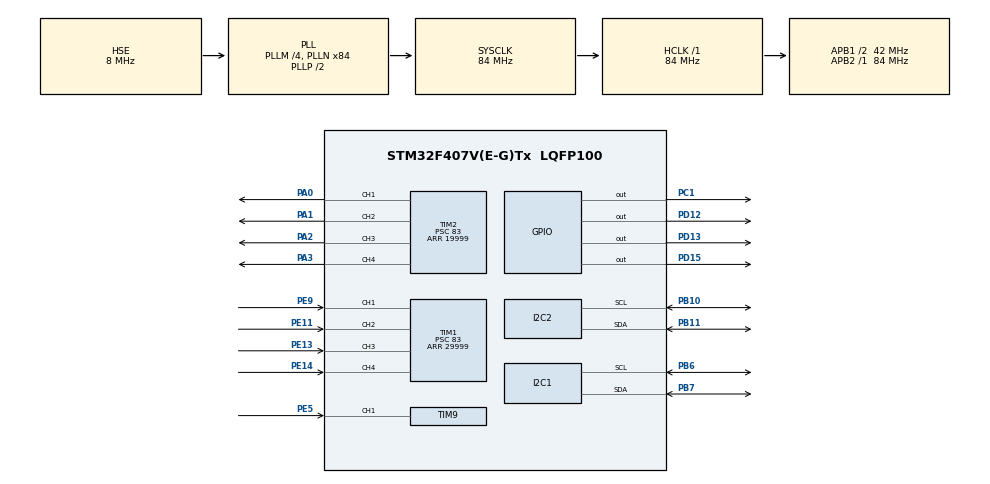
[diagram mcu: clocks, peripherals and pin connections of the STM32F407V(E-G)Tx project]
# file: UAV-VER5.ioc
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I2C1.I2C_Mode=I2C_Fast
I2C2.I2C_Mode=I2C_Fast
Mcu.Family=STM32F4
Mcu.Name=STM32F407V(E-G)Tx
Mcu.Package=LQFP100
NVIC.PriorityGroup=NVIC_PRIORITYGROUP_4
NVIC.TIM1_BRK_TIM9_IRQn=true\:0\:0\:false\:false\:true\:true\:true
NVIC.TIM1_CC_IRQn=true\:0\:0\:false\:false\:true\:true\:true
NVIC.TIM3_IRQn=true\:1\:0\:true\:false\:true\:true\:true
PA0-WKUP.Signal=S_TIM2_CH1_ETR
PA1.Signal=S_TIM2_CH2
PA2.Signal=S_TIM2_CH3
PA3.Signal=S_TIM2_CH4
PB10.Mode=I2C
PB10.Signal=I2C2_SCL
PB11.Mode=I2C
PB11.Signal=I2C2_SDA
PB6.Mode=I2C
PB6.Signal=I2C1_SCL
PB7.Mode=I2C
PB7.Signal=I2C1_SDA
PC1.Signal=GPIO_Output
PD12.Signal=GPIO_Output
PD13.Signal=GPIO_Output
PD15.Signal=GPIO_Output
PE11.Signal=S_TIM1_CH2
PE13.Signal=S_TIM1_CH3
PE14.Signal=S_TIM1_CH4
PE5.Signal=S_TIM9_CH1
PE9.Signal=S_TIM1_CH1
PH0-OSC_IN.Mode=HSE-External-Oscillator
PH0-OSC_IN.Signal=RCC_OSC_IN
PH1-OSC_OUT.Mode=HSE-External-Oscillator
PH1-OSC_OUT.Signal=RCC_OSC_OUT
ProjectManager.HeapSize=0x200
ProjectManager.StackSize=0x400
ProjectManager.TargetToolchain=MDK-ARM V5
RCC.48MHZClocksFreq_Value=42000000
RCC.AHBFreq_Value=84000000
RCC.APB1CLKDivider=RCC_HCLK_DIV2
RCC.APB1Freq_Value=42000000
RCC.APB1TimFreq_Value=84000000
RCC.APB2Freq_Value=84000000
RCC.APB2TimFreq_Value=84000000
RCC.CortexFreq_Value=84000000
RCC.HCLKFreq_Value=84000000
RCC.HSE_VALUE=8000000
RCC.HSI_VALUE=16000000
RCC.LSE_VALUE=32768
RCC.PLLM=4
RCC.PLLN=84
RCC.PLLSourceVirtual=RCC_PLLSOURCE_HSE
RCC.SYSCLKFreq_VALUE=84000000
RCC.SYSCLKSource=RCC_SYSCLKSOURCE_PLLCLK
RCC.VCOOutputFreq_Value=168000000
SH.S_TIM1_CH1.0=TIM1_CH1,Input_Capture1_from_TI1
SH.S_TIM1_CH2.0=TIM1_CH2,Input_Capture2_from_TI2
SH.S_TIM1_CH3.0=TIM1_CH3,Input_Capture3_from_TI3
SH.S_TIM1_CH4.0=TIM1_CH4,Input_Capture4_from_TI4
SH.S_TIM2_CH1_ETR.0=TIM2_CH1,PWM Generation1 CH1
SH.S_TIM2_CH2.0=TIM2_CH2,PWM Generation2 CH2
SH.S_TIM2_CH3.0=TIM2_CH3,PWM Generation3 CH3
SH.S_TIM2_CH4.0=TIM2_CH4,PWM Generation4 CH4
SH.S_TIM9_CH1.0=TIM9_CH1,Input_Capture1_from_TI1
TIM1.Channel-Input_Capture1_from_TI1=TIM_CHANNEL_1
TIM1.Channel-Input_Capture2_from_TI2=TIM_CHANNEL_2
TIM1.Channel-Input_Capture3_from_TI3=TIM_CHANNEL_3
TIM1.Channel-Input_Capture4_from_TI4=TIM_CHANNEL_4
TIM1.ICFilter_CH1=15
TIM1.ICFilter_CH2=15
TIM1.ICFilter_CH3=15
TIM1.ICFilter_CH4=15
TIM1.ICPolarity_CH1=TIM_INPUTCHANNELPOLARITY_BOTHEDGE
TIM1.ICPolarity_CH2=TIM_INPUTCHANNELPOLARITY_BOTHEDGE
TIM1.ICPolarity_CH3=TIM_INPUTCHANNELPOLARITY_BOTHEDGE
TIM1.ICPolarity_CH4=TIM_INPUTCHANNELPOLARITY_BOTHEDGE
TIM1.Period=29999
TIM1.Prescaler=83
TIM2.Channel-PWM\ Generation1\ CH1=TIM_CHANNEL_1
TIM2.Channel-PWM\ Generation2\ CH2=TIM_CHANNEL_2
TIM2.Channel-PWM\ Generation3\ CH3=TIM_CHANNEL_3
TIM2.Channel-PWM\ Generation4\ CH4=TIM_CHANNEL_4
TIM2.Period=19999
TIM2.Prescaler=83
TIM3.Period=3999
TIM3.Prescaler=83
TIM9.Channel-Input_Capture1_from_TI1=TIM_CHANNEL_1
TIM9.ICFilter_CH1=15
TIM9.ICPolarity_CH1=TIM_INPUTCHANNELPOLARITY_BOTHEDGE
TIM9.Period=9999
TIM9.Prescaler=83
VP_TIM1_VS_ClockSourceINT.Mode=Internal
VP_TIM2_VS_ClockSourceINT.Mode=Internal
VP_TIM3_VS_ClockSourceINT.Mode=Internal
VP_TIM9_VS_ClockSourceINT.Mode=Internal
board=custom

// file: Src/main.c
/* USER CODE BEGIN Header */
/**
  ******************************************************************************
  * @file           : main.c
  * @brief          : Main program body
  ******************************************************************************
  ** This notice applies to any and all portions of this file
  * that are not between comment pairs USER CODE BEGIN and
  * USER CODE END. Other portions of this file, whether
  * inserted by the user or by software development tools
  * are owned by their respective copyright owners.
  *
  * COPYRIGHT(c) 2019 STMicroelectronics
  *
  * Redistribution and use in source and binary forms, with or without modification,
  * are permitted provided that the following conditions are met:
  *   1. Redistributions of source code must retain the above copyright notice,
  *      this list of conditions and the following disclaimer.
  *   2. Redistributions in binary form must reproduce the above copyright notice,
  *      this list of conditions and the following disclaimer in the documentation
  *      and/or other materials provided with the distribution.
  *   3. Neither the name of STMicroelectronics nor the names of its contributors
  *      may be used to endorse or promote products derived from this software
  *      without specific prior written permission.
  *
  * THIS SOFTWARE IS PROVIDED BY THE COPYRIGHT HOLDERS AND CONTRIBUTORS "AS IS"
  * AND ANY EXPRESS OR IMPLIED WARRANTIES, INCLUDING, BUT NOT LIMITED TO, THE
  * IMPLIED WARRANTIES OF MERCHANTABILITY AND FITNESS FOR A PARTICULAR PURPOSE ARE
  * DISCLAIMED. IN NO EVENT SHALL THE COPYRIGHT HOLDER OR CONTRIBUTORS BE LIABLE
  * FOR ANY DIRECT, INDIRECT, INCIDENTAL, SPECIAL, EXEMPLARY, OR CONSEQUENTIAL
  * DAMAGES (INCLUDING, BUT NOT LIMITED TO, PROCUREMENT OF SUBSTITUTE GOODS OR
  * SERVICES; LOSS OF USE, DATA, OR PROFITS; OR BUSINESS INTERRUPTION) HOWEVER
  * CAUSED AND ON ANY THEORY OF LIABILITY, WHETHER IN CONTRACT, STRICT LIABILITY,
  * OR TORT (INCLUDING NEGLIGENCE OR OTHERWISE) ARISING IN ANY WAY OUT OF THE USE
  * OF THIS SOFTWARE, EVEN IF ADVISED OF THE POSSIBILITY OF SUCH DAMAGE.
  *
  ******************************************************************************
  */
/* USER CODE END Header */

#include "main.h"

/* USER CODE BEGIN Includes */
#include "mpu9255.h"
#include "IMU.h"
#include "px4flow.h"
//#include "dwt_stm32_delay.h"
/* USER CODE END Includes */

/* USER CODE BEGIN PD */
#define DETECT_TAKEOFF_RATE 10.0f
#define HOVER_THROTTLE_MIN 1480
#define HOVER_THROTTLE_MAX 1545
#define DETECT_TAKEOFF_RATE_DELTA_CHECK 0.25f

#define TAKEOFF_COMPENSATE 65

#define ALTHOLD_THROT_MIN 1400.0f
#define ALTHOLD_THROT_MAX 1630.0f

//Auto run parameter
#define 	AUTO_RUN														0				//1 = on, 0 = off
#define 	RUNNING_TIME												20			//seconds

//PID Parameters
#define		KP_ROLL_PITCH												6.5f //5.0f
#define		KI_ROLL_PITCH												0.0f
#define		KD_ROLL_PITCH												0.0f

#define		KP_ROLL_PITCH_OMEGA									0.47f//0.6f //1.1f 		//1.3f //0.46f
#define		KI_ROLL_PITCH_OMEGA									0.001f  //0.0052f;
#define		KD_ROLL_PITCH_OMEGA									2.5f //5.0f 	//12.6f;
#define 	ROLL_PITCH_MAX_INTEGRAL							20//200.0f
#define 	ROLL_PITCH_MAX_OUTPUT								350.0f

//Altitude controller parameters
#define 	ALTITUDE_CONTROLLER									1
#define 	POSITION_CONTROL 										1

/* USER CODE END PD */

I2C_HandleTypeDef hi2c1;
I2C_HandleTypeDef hi2c2;

TIM_HandleTypeDef htim1;
TIM_HandleTypeDef htim2;
TIM_HandleTypeDef htim3;
TIM_HandleTypeDef htim9;

/* USER CODE BEGIN PV */
//Sonar US 015
uint32_t time = 0, pre_time = 0;
float dt_time = 0;
double vel_us015 = 0.0f, pre_rate_us015 = 0.0f;
uint32_t dem_sonar = 0;
static uint8_t delta_us015_cnt, distance_counter;

extern uint8_t px4flow_error ;
uint32_t hover_throttle ,add_throttle;
uint8_t hovering_controller = 0;
extern float temp_pid_rx, temp_pid_ry;
extern float velpid_x_i, velpid_y_i;
extern float ground_distance_filtered;
extern float throttle_output,distance_real;
uint8_t flight_mode;

uint32_t count = 0, ii= 0 , iii = 0, start = 0;
float ga = 0.0f;

float channel_3 = 0, channel_5 = 0 , channel_1 = 0, channel_2 = 0;
uint16_t pid_roll_setpoint_base =0, pid_pitch_setpoint_base = 0;
float pid_roll_setpoint = 0, pid_pitch_setpoint = 0;
volatile uint16_t esc1 = 1000, esc2 = 1000 , esc3 = 1000, esc4 = 1000; // Cap PWM cho dong co : 1000-2000
volatile float esc1_f = 0, esc2_f = 0, esc3_f =0, esc4_f =0, ga_f = 0;
extern uint8_t buffer3[21];
extern float roll, pitch, yaw, yaw_raw;
float yaw_setpoint = 130.0f;
extern float gyro_that[3];

/////////////////PID CONSTANTS/////////////////
/*----------ROLL------------*/
double kp_roll = KP_ROLL_PITCH;
double ki_roll = KI_ROLL_PITCH;
double kd_roll = KD_ROLL_PITCH;
float pid_output_roll = 0, pid_error_temp_roll = 0, pid_i_mem_roll = 0, pid_last_roll_d_error =0 ;
float pid_max_roll = 300.0f ;//25

float pid_output_roll_omega = 0, pid_error_temp_roll_omega = 0, pid_i_mem_roll_omega = 0, pid_last_roll_d_error_omega = 0 ;
double kp_roll_omega = KP_ROLL_PITCH_OMEGA;
double ki_roll_omega = KI_ROLL_PITCH_OMEGA;
double kd_roll_omega = KD_ROLL_PITCH_OMEGA ;

float pid_max_roll_omega_integral = ROLL_PITCH_MAX_INTEGRAL;
float pid_max_roll_omega = ROLL_PITCH_MAX_OUTPUT;

/*----------PITCH------------*/
double kp_pitch = KP_ROLL_PITCH;
double ki_pitch = KI_ROLL_PITCH;
double kd_pitch = KD_ROLL_PITCH;
float pid_output_pitch = 0, pid_error_temp_pitch = 0, pid_i_mem_pitch = 0, pid_last_pitch_d_error = 0 ;
float pid_max_pitch = 300.0f ;

double kp_pitch_omega = KP_ROLL_PITCH_OMEGA;
double ki_pitch_omega = KI_ROLL_PITCH_OMEGA;
double kd_pitch_omega = KD_ROLL_PITCH_OMEGA;
float pid_output_pitch_omega = 0, pid_error_temp_pitch_omega = 0, pid_i_mem_pitch_omega = 0, pid_last_pitch_d_error_omega = 0 ;

float pid_max_pitch_omega_integral = ROLL_PITCH_MAX_INTEGRAL;
float pid_max_pitch_omega = ROLL_PITCH_MAX_OUTPUT ;

/*----------YAW------------*/
float yaw_offset = 0, yaw_offset_tmp = 0;
uint8_t i_yaw = 0;
double kp_yaw = 1.0f;
double ki_yaw = 0.0f;
double kd_yaw = 0;
float pid_output_yaw = 0, pid_error_temp_yaw = 0, pid_i_mem_yaw = 0, pid_last_yaw_d_error = 0;
float pid_max_yaw = 100.0f;

double kp_yaw_omega = 7.0f;//3.3
double ki_yaw_omega = 0.01f;//0.036
double kd_yaw_omega = 1.0f;//0
float pid_output_yaw_omega = 0, pid_error_temp_yaw_omega = 0, pid_i_mem_yaw_omega = 0, pid_last_yaw_d_error_omega = 0;
float pid_max_yaw_omega = 200.0f;
float pid_max_yaw_omega_integral = 50.0f;

uint8_t altitude_controller_counter = 0;
uint8_t takeoff_detect = 0;
int16_t rate_detect_cnt = 0;
//----------------------

uint16_t 	Gyroscope_X_offset=0,Gyroscope_Y_offset=0,Gyroscope_Z_offset=0,Accelerometer_X_offset=0,Accelerometer_Y_offset=0,Accelerometer_Z_offset=0;

/* USER CODE END PV */

void SystemClock_Config(void);
static void MX_GPIO_Init(void);
static void MX_I2C1_Init(void);
static void MX_TIM1_Init(void);
static void MX_TIM2_Init(void);
static void MX_TIM3_Init(void);
static void MX_I2C2_Init(void);
static void MX_TIM9_Init(void);
/* USER CODE BEGIN PFP */
void HAL_TIM_IC_CaptureCallback(TIM_HandleTypeDef *htim)
{
	if(htim->Instance == TIM1)
		{
			if(htim->Channel == HAL_TIM_ACTIVE_CHANNEL_1)
			{
				if(HAL_GPIO_ReadPin(GPIOE,GPIO_PIN_9)==1)
				{
					__HAL_TIM_SetCounter(&htim1,0);
				}
				else
				{
					channel_3 = __HAL_TIM_GetCompare(&htim1,TIM_CHANNEL_1);
				}
			}

			if(htim->Channel == HAL_TIM_ACTIVE_CHANNEL_2)
				{
				if(HAL_GPIO_ReadPin(GPIOE,GPIO_PIN_11)==1)
				{

					__HAL_TIM_SetCounter(&htim1,0);
				}
				else
				{
					channel_1 = __HAL_TIM_GetCompare(&htim1,TIM_CHANNEL_2);
				}
				}
			if (htim->Channel == HAL_TIM_ACTIVE_CHANNEL_3)
				{
					if (HAL_GPIO_ReadPin(GPIOE,GPIO_PIN_13)==1)
					{
						__HAL_TIM_SetCounter(&htim1,0);
					}
					else
					{
						channel_2 = __HAL_TIM_GetCompare(&htim1,TIM_CHANNEL_3);
					}
				}
			if (htim->Channel == HAL_TIM_ACTIVE_CHANNEL_4)
				{
					if (HAL_GPIO_ReadPin(GPIOE,GPIO_PIN_14)==1)
					{
						__HAL_TIM_SetCounter(&htim1,0);
					}
					else
					{
						channel_5 = __HAL_TIM_GetCompare(&htim1,TIM_CHANNEL_4);
					}
				}
		}

//	if (htim->Instance == TIM9)
//		{
//		if (htim->Channel == HAL_TIM_ACTIVE_CHANNEL_1)
//		{
//
//			if (HAL_GPIO_ReadPin(GPIOE, GPIO_PIN_5) == 1){
//				__HAL_TIM_SetCounter(&htim9, 0);
//			}
//			else{
//				time = __HAL_TIM_GetCompare(&htim9, TIM_CHANNEL_1);
//				/*----XU LY DO CAO------*/
//				distance_rep = (float) time * 0.0171821f;//cm
//				dt_time = (100 + (time - pre_time)*0.001f)*0.001f;
////				distance = distance*0.65 + distance_rep*0.35;
//				distance = average_filter(distance_buffer, 19, distance_rep, &distance_counter);
////				distance = LPF(distance_rep, pre_distance, 10.0f, 0.048f);
//				vel_us015 = average_filter(delta_us015_buffer, 5, (pre_distance - distance)/dt_time, &delta_us015_cnt);
//				pre_distance = distance;
//				pre_time = time;
//				if (takeoff_detect == 0)
//							{
////								if (fabs(vel_us015) < DETECT_TAKEOFF_RATE)
////								{
////									if (rate_detect_cnt > 0)
////									{
////										rate_detect_cnt = 0;
////									}
////									else
////									{
////										hover_throttle = hover_throttle + 10;
////									}
////									// value for winning quadcopter's gravity to takeoff
////									if (hover_throttle >= HOVER_THROTTLE_MAX + TAKEOFF_COMPENSATE)
////										{
////											hover_throttle = HOVER_THROTTLE_MAX + TAKEOFF_COMPENSATE;
////										}
////								}
//								// auto takeoff detected.
////								else
////									{
//										// the velocity must increase to ensure that the copter is going up, maybe noise??
//										if (fabs(vel_us015) - pre_rate_us015 > DETECT_TAKEOFF_RATE_DELTA_CHECK)
//										{
//											rate_detect_cnt++;
//										}
//										else
//											{
//												rate_detect_cnt = 0;
//											}
//										pre_rate_us015 = fabs(vel_us015);
//										if (rate_detect_cnt >= 4)
//										{
//											takeoff_detect = 1;
//											// hover_throttle current is go high, then we subtract a value to get approximately hover value
////											hover_throttle = hover_throttle - TAKEOFF_COMPENSATE;
//											ga = ga - TAKEOFF_COMPENSATE;
//											//just in case the quadcopter isn't power, then this value will be higher than hover_throttle
//											// limits throttle when it takes off
////											hover_throttle = Math_fConstrain(hover_throttle, HOVER_THROTTLE_MIN, HOVER_THROTTLE_MAX);
////											Reset_PID();
////											pid_altitude_integral = 0;
////											altitude_setpoint = 40;
//										}
//									}

//				/*----END XU LY DO CAO-----*/
//			}
//		}
//	}

}

/* PID CONTROLLER */

uint32_t auto_run_counter_temp = 0, auto_run_counter = 0;
uint8_t control_counter = 0;
uint8_t hover_controller_counter = 0;
float hovering_roll_setpoint = 0.0f, hovering_pitch_setpoint = 0.0f;
float px_setpoint = 0.0f, py_setpoint = 0.0f;
float vx_setpoint = 0.0f, vy_setpoint = 0.0f;
void PID_Controller_Angles(void)
{
	if (hovering_controller == 0)
	{
		pid_roll_setpoint_base = channel_1;                                              //Normally channel_1 is the pid_roll_setpoint input.
		pid_pitch_setpoint_base = channel_2;                                             //Normally channel_2 is the pid_pitch_setpoint input.
		//We need a little dead band of 16us for better results. Channel_1 middle = 1485
		if (pid_roll_setpoint_base > 1493) pid_roll_setpoint = pid_roll_setpoint_base - 1493;
		else if (pid_roll_setpoint_base < 1477) pid_roll_setpoint = pid_roll_setpoint_base - 1477;
					else pid_roll_setpoint = 0.0f;
		pid_roll_setpoint = pid_roll_setpoint/20;//15

		//We need a little dead band of 16us for better results. Channel_2 middle = 1520
		if (pid_pitch_setpoint_base > 1528)pid_pitch_setpoint = pid_pitch_setpoint_base - 1528;
		else if (pid_pitch_setpoint_base < 1512)pid_pitch_setpoint = pid_pitch_setpoint_base - 1512;
					else pid_pitch_setpoint = 0.0f;
		pid_pitch_setpoint = pid_pitch_setpoint/20;//15
	}
	else if (hovering_controller == 1)
	{

		pid_roll_setpoint_base = channel_1;                                              //Normally channel_1 is the pid_roll_setpoint input.
		pid_pitch_setpoint_base = channel_2;                                             //Normally channel_2 is the pid_pitch_setpoint input.
#if POSITION_CONTROL
//		if (pid_roll_setpoint_base > 1600) py_setpoint = py_setpoint - 5.0f;
//		else if (pid_roll_setpoint_base < 1400) py_setpoint = py_setpoint + 5.0f;
//
//		//We need a little dead band of 16us for better results. Channel_2 middle = 1520
//		if (pid_pitch_setpoint_base > 1600) px_setpoint = px_setpoint - 5.0f;
//		else if (pid_pitch_setpoint_base < 1400) px_setpoint = px_setpoint + 5.0f;

#else
		//We need a little dead band of 16us for better results. Channel_1 middle = 1485
		int vx_control_value, vy_control_value;
		if (pid_roll_setpoint_base > 1493) vy_control_value = pid_roll_setpoint_base - 1493;
		else if (pid_roll_setpoint_base < 1477) vy_control_value = pid_roll_setpoint_base - 1477;
		vy_setpoint = vy_control_value/1000;

		//We need a little dead band of 16us for better results. Channel_2 middle = 1520
		if (pid_pitch_setpoint_base > 1528) vx_control_value = pid_pitch_setpoint_base - 1528;
		else if (pid_pitch_setpoint_base < 1512) vx_control_value = pid_pitch_setpoint_base - 1512;
		vx_setpoint = vx_control_value/1000;

#endif
		pid_roll_setpoint = hovering_roll_setpoint;
		pid_pitch_setpoint = hovering_pitch_setpoint;
	}
	//Roll calculations///////////////////////////////////////////
	pid_error_temp_roll = pid_roll_setpoint - roll + 2.45f ;

	pid_i_mem_roll += ki_roll * pid_error_temp_roll;

	if (pid_i_mem_roll > pid_max_roll) pid_i_mem_roll = pid_max_roll;
	else
			if (pid_i_mem_roll < pid_max_roll * -1) pid_i_mem_roll = pid_max_roll * -1;

	pid_output_roll = kp_roll * pid_error_temp_roll + pid_i_mem_roll + (-kd_roll)*(pid_error_temp_roll - pid_last_roll_d_error);

	if( pid_output_roll > pid_max_roll) pid_output_roll = pid_max_roll;
	else
			if (pid_output_roll < pid_max_roll * -1) pid_output_roll = pid_max_roll * -1;

	pid_last_roll_d_error = pid_error_temp_roll;

	//Pitch calculations///////////////////////////////////////////
	pid_error_temp_pitch = pid_pitch_setpoint - pitch - 1.11f;

	pid_i_mem_pitch += ki_pitch * pid_error_temp_pitch;

	if (pid_i_mem_pitch > pid_max_pitch) pid_i_mem_pitch = pid_max_pitch;
	else
			if (pid_i_mem_pitch < pid_max_pitch*-1) pid_i_mem_pitch = pid_max_pitch*-1;

	pid_output_pitch = kp_roll * pid_error_temp_pitch + pid_i_mem_pitch + (-kd_pitch)*(pid_error_temp_pitch - pid_last_pitch_d_error);

	if (pid_output_pitch > pid_max_pitch) pid_output_pitch = pid_max_pitch;
	else
			if (pid_output_pitch < pid_max_pitch*-1) pid_output_pitch = pid_max_pitch * -1;

	pid_last_pitch_d_error = pid_error_temp_pitch;

	//Yaw calculations/////////////////////////////////////////////
	pid_error_temp_yaw = -(yaw_setpoint - yaw)  ;

	pid_i_mem_yaw += ki_yaw*pid_error_temp_yaw;

	if (pid_i_mem_yaw > pid_max_yaw) pid_i_mem_yaw = pid_max_yaw;
	else if (pid_i_mem_yaw < pid_max_yaw*(-1)) pid_i_mem_yaw = pid_max_yaw*(-1);

	pid_output_yaw = kp_yaw*pid_error_temp_yaw + pid_i_mem_yaw + (-kd_yaw)*(pid_error_temp_yaw - pid_last_yaw_d_error);

	if (pid_output_yaw > pid_max_yaw) pid_output_yaw = pid_max_yaw;
	else if (pid_output_yaw < pid_max_yaw*(-1)) pid_output_yaw = pid_max_yaw*(-1);

	pid_last_yaw_d_error = pid_error_temp_yaw;

}

int sign_output_roll, pre_sign_output_roll = 1;
int sign_output_pitch, pre_sign_output_pitch = 1;
int sign_output_yaw, pre_sign_output_yaw = 1;

void PID_Controller_Omega(void)
{
	//Omega roll calculation//////////////////////////////////////////
	pid_error_temp_roll_omega = pid_output_roll - gyro_that[0] ;

	pid_i_mem_roll_omega += ki_roll_omega * pid_error_temp_roll_omega;

	if (pid_i_mem_roll_omega > pid_max_roll_omega_integral) pid_i_mem_roll_omega = pid_max_roll_omega_integral;
	else if (pid_i_mem_roll_omega < pid_max_roll_omega_integral * (-1)) pid_i_mem_roll_omega = pid_max_roll_omega_integral* (-1);

	pid_output_roll_omega = kp_roll_omega*pid_error_temp_roll_omega + pid_i_mem_roll_omega + kd_roll_omega * (pid_error_temp_roll_omega - pid_last_roll_d_error_omega);

	if (pid_output_roll_omega > pid_max_roll_omega) pid_output_roll_omega = pid_max_roll_omega;
	else if (pid_output_roll_omega < pid_max_roll_omega * (-1)) pid_output_roll_omega = pid_max_roll_omega * (-1);

	pid_last_roll_d_error_omega = pid_error_temp_roll_omega;
	pre_sign_output_roll = sign_output_roll;

	//Omega pitch calculation//////////////////////////////////////////
	pid_error_temp_pitch_omega = pid_output_pitch - gyro_that[1] ;

	pid_i_mem_pitch_omega += ki_pitch_omega * pid_error_temp_pitch_omega;

	if (pid_i_mem_pitch_omega > pid_max_pitch_omega_integral) pid_i_mem_pitch_omega = pid_max_pitch_omega_integral;
	else if (pid_i_mem_pitch_omega < pid_max_pitch_omega_integral * (-1)) pid_i_mem_pitch_omega = pid_max_pitch_omega_integral* (-1);

	pid_output_pitch_omega = kp_pitch_omega * pid_error_temp_pitch_omega + pid_i_mem_pitch_omega + kd_pitch_omega * (pid_error_temp_pitch_omega - pid_last_pitch_d_error_omega);

	if (pid_output_pitch_omega > pid_max_pitch_omega) pid_output_pitch_omega = pid_max_pitch_omega;
	else if (pid_output_pitch_omega < pid_max_pitch_omega * (-1)) pid_output_pitch_omega = pid_max_pitch_omega * (-1);

	pid_last_pitch_d_error_omega = pid_error_temp_pitch_omega;
	pre_sign_output_pitch = sign_output_pitch;

	//Omega yaw calculation//////////////////////////////////////////
	//pid_error_temp_yaw_omega = pid_output_yaw - gyro_that[2];

	pid_error_temp_yaw_omega = (0.0f - gyro_that[2]);

	pid_i_mem_yaw_omega += ki_yaw_omega * pid_error_temp_yaw_omega;

	if (pid_i_mem_yaw_omega > pid_max_yaw_omega_integral) pid_i_mem_yaw_omega = pid_max_yaw_omega_integral;
	else if (pid_i_mem_yaw_omega < pid_max_yaw_omega_integral * (-1)) pid_i_mem_yaw_omega = pid_max_yaw_omega_integral * (-1);

	pid_output_yaw_omega = kp_yaw_omega * pid_error_temp_yaw_omega + pid_i_mem_yaw_omega + kd_yaw_omega * (pid_error_temp_yaw_omega - pid_last_yaw_d_error_omega);

	if (pid_output_yaw_omega > pid_max_yaw_omega) pid_output_yaw_omega = pid_max_yaw_omega;
	else if (pid_output_yaw_omega < pid_max_yaw_omega * (-1)) pid_output_yaw_omega = pid_max_yaw_omega * (-1);

	pid_last_yaw_d_error_omega = pid_error_temp_yaw_omega;
}

void Reset_PID(void)
{
	pid_i_mem_roll_omega = pid_i_mem_pitch_omega = pid_i_mem_yaw_omega = 0.0f;
	pid_last_roll_d_error_omega = pid_last_pitch_d_error_omega = pid_last_yaw_d_error_omega = 0.0f;

	throttle_output = 0.0f;

	temp_pid_rx = 0.0f;
	velpid_x_i = 0.0f;
	temp_pid_ry = 0.0f;
	velpid_y_i = 0.0f;
}

//void triger_sonar_us_015(void)
//{
//		HAL_GPIO_WritePin(GPIOC, GPIO_PIN_1, GPIO_PIN_RESET);
//		DWT_Delay_us(1);
//		HAL_GPIO_WritePin(GPIOC, GPIO_PIN_1, GPIO_PIN_SET);
//		DWT_Delay_us(10);
//		HAL_GPIO_WritePin(GPIOC, GPIO_PIN_1, GPIO_PIN_RESET);
//}

/* USER CODE END PFP */

/* USER CODE BEGIN 0 */
void HAL_TIM_PeriodElapsedCallback(TIM_HandleTypeDef *htim)
{
	if(htim->Instance == TIM3)
	{
		MPU9255_Get_Data();
		IMU_GetYawPitchRoll();
		// Triger Sonar
//		dem_sonar++;
//		if (dem_sonar == 25)
//		{
//			dem_sonar = 0;
//			triger_sonar_us_015();
//		}

#if AUTO_RUN
		if (start == 1)
		{
			auto_run_counter_temp++;
			if (auto_run_counter_temp == 250){
				auto_run_counter++;
				if (auto_run_counter == RUNNING_TIME){
					start = 0;
					break;
				}
				auto_run_counter_temp = 0;
			}
#endif

if ( channel_5 > 1500)
			{
					hover_controller_counter++;
					if (hover_controller_counter == 4	)
					{
						hover_controller_counter = 0;
						PX4Flow_get_angle_setpoint(&hovering_roll_setpoint, &hovering_pitch_setpoint);

					}
					PID_Controller_Angles();
					PID_Controller_Omega();

#if ALTITUDE_CONTROLLER
					if (px4flow_error == 0)
					{
						if (channel_3 > THROTTLE_P)
						{
							ga = THROTTLE_P + throttle_output;
							ga = ga/(cos(roll * M_PI/180.0f) * cos(pitch * M_PI/180.0f));
							flight_mode = 1;
						}
						else
							if ((channel_3 < THROTTLE_P)&&(flight_mode == 0))
								{
									ga = channel_3;
								}
							else
									if ((channel_3 < THROTTLE_P)&&(flight_mode == 1))
									{
										ga = ga - 0.2f;
									}
					}
					else
						if (px4flow_error == 1)
						{
							ga = ga - 0.2f;
						}
#else
					ga = channel_3 ;
#endif
      if (ga >= 1600.0f) ga = 1600.0f;

					esc1 = ga - pid_output_roll_omega - pid_output_pitch_omega - pid_output_yaw_omega;   //MPU dat giua 2 truc
					esc2 = ga - pid_output_roll_omega + pid_output_pitch_omega + pid_output_yaw_omega;
					esc3 = ga + pid_output_roll_omega + pid_output_pitch_omega - pid_output_yaw_omega;
					esc4 = ga + pid_output_roll_omega - pid_output_pitch_omega + pid_output_yaw_omega;
//					esc1 = esc2 = esc3 = esc4 = ga;

					if (esc1 < 1100) esc1 = 1100;                                                 //Keep the motors running.
					if (esc2 < 1100) esc2 = 1100;                                                 //Keep the motors running.
					if (esc3 < 1100) esc3 = 1100;                                                 //Keep the motors running.
					if (esc4 < 1100) esc4 = 1100;                                                 //Keep the motors running.

					if (esc1 > 1800) esc1 = 1800;                                                 //Limit the esc-1 pulse to 2000us.
					if (esc2 > 1800) esc2 = 1800;                                                 //Limit the esc-2 pulse to 2000us.
					if (esc3 > 1800) esc3 = 1800;                                                 //Limit the esc-3 pulse to 2000us.
					if (esc4 > 1800) esc4 = 1800;                                                 //Limit the esc-4 pulse to 2000us.

				}
			else
				{
					Reset_PID();
					esc1 = 1000;
					esc2 = 1000;
					esc3 = 1000;
					esc4 = 1000;
				}

#if AUTO_RUN
		}
		else {
			Reset_PID();
			esc1 = 1000;
			esc2 = 1000;
			esc3 = 1000;
			esc4 = 1000;
		}
#endif

	/*----Xuat PWM ra dong co -----*/
		__HAL_TIM_SetCompare(&htim2, TIM_CHANNEL_1 , esc3 ); //PA0
		__HAL_TIM_SetCompare(&htim2, TIM_CHANNEL_2 , esc1 ); //PA1
		__HAL_TIM_SetCompare(&htim2, TIM_CHANNEL_3 , esc2 ); //PA2
		__HAL_TIM_SetCompare(&htim2, TIM_CHANNEL_4 , esc4 ); //PA3

	}

}

/* USER CODE END 0 */

int main(void)
{

  /* MCU Configuration--------------------------------------------------------*/

  /* Reset of all peripherals, Initializes the Flash interface and the Systick. */
  HAL_Init();

  /* Configure the system clock */
  SystemClock_Config();

  /* Initialize all configured peripherals */
  MX_GPIO_Init();
  MX_I2C1_Init();
  MX_TIM1_Init();
  MX_TIM2_Init();
  MX_TIM3_Init();
  MX_I2C2_Init();
  MX_TIM9_Init();
  /* USER CODE BEGIN 2 */
	MPU9255_Init();
	InitGyrOffset();
	PX4Flow_Init();
	px4flow_error = 0;
	HAL_TIM_PWM_Start(&htim2, TIM_CHANNEL_1);
	HAL_TIM_PWM_Start(&htim2, TIM_CHANNEL_2);
	HAL_TIM_PWM_Start(&htim2, TIM_CHANNEL_3);
	HAL_TIM_PWM_Start(&htim2, TIM_CHANNEL_4);

	/*----Xuat PWM ra dong co -----*/
	__HAL_TIM_SetCompare(&htim2, TIM_CHANNEL_1 , 1000 ); //PA0
	__HAL_TIM_SetCompare(&htim2, TIM_CHANNEL_2 , 1000 ); //PA1
	__HAL_TIM_SetCompare(&htim2, TIM_CHANNEL_3 , 1000 ); //PA2
	__HAL_TIM_SetCompare(&htim2, TIM_CHANNEL_4 , 1000 ); //PA3
	HAL_Delay(4000);
	HAL_GPIO_WritePin(GPIOD, GPIO_PIN_15, GPIO_PIN_SET);

	HAL_TIM_IC_Start_IT(&htim1, TIM_CHANNEL_1);
	HAL_TIM_IC_Start_IT(&htim1, TIM_CHANNEL_2);
	HAL_TIM_IC_Start_IT(&htim1, TIM_CHANNEL_3);
	HAL_TIM_IC_Start_IT(&htim1, TIM_CHANNEL_4);
	HAL_TIM_Base_Start_IT(&htim3);

//	DWT_Delay_Init();
//	HAL_TIM_IC_Start_IT(&htim9, TIM_CHANNEL_1);

	/*
		Set this variable equal to 1 if u want to active hovering controller
		We need to use another channel to active this if we want in the future
		Or make it always enable when the UAV set off
	*/
	flight_mode = 0;
	hovering_controller = 1;
	px_setpoint = 0.0f;
	py_setpoint = 0.0f;
//	hover_throttle = 1200;
	ga = 1100.0f;
	distance_real = 30.0f;

  /* USER CODE END 2 */

  /* Infinite loop */
  while (1)
  {

  }
}

void SystemClock_Config(void)
{
  RCC_OscInitTypeDef RCC_OscInitStruct = {0};
  RCC_ClkInitTypeDef RCC_ClkInitStruct = {0};

  /** Configure the main internal regulator output voltage
  */
  __HAL_RCC_PWR_CLK_ENABLE();
  __HAL_PWR_VOLTAGESCALING_CONFIG(PWR_REGULATOR_VOLTAGE_SCALE1);
  /** Initializes the CPU, AHB and APB busses clocks
  */
  RCC_OscInitStruct.OscillatorType = RCC_OSCILLATORTYPE_HSE;
  RCC_OscInitStruct.HSEState = RCC_HSE_ON;
  RCC_OscInitStruct.PLL.PLLState = RCC_PLL_ON;
  RCC_OscInitStruct.PLL.PLLSource = RCC_PLLSOURCE_HSE;
  RCC_OscInitStruct.PLL.PLLM = 4;
  RCC_OscInitStruct.PLL.PLLN = 84;
  RCC_OscInitStruct.PLL.PLLP = RCC_PLLP_DIV2;
  RCC_OscInitStruct.PLL.PLLQ = 4;
  if (HAL_RCC_OscConfig(&RCC_OscInitStruct) != HAL_OK)
  {
    Error_Handler();
  }
  /** Initializes the CPU, AHB and APB busses clocks
  */
  RCC_ClkInitStruct.ClockType = RCC_CLOCKTYPE_HCLK|RCC_CLOCKTYPE_SYSCLK
                              |RCC_CLOCKTYPE_PCLK1|RCC_CLOCKTYPE_PCLK2;
  RCC_ClkInitStruct.SYSCLKSource = RCC_SYSCLKSOURCE_PLLCLK;
  RCC_ClkInitStruct.AHBCLKDivider = RCC_SYSCLK_DIV1;
  RCC_ClkInitStruct.APB1CLKDivider = RCC_HCLK_DIV2;
  RCC_ClkInitStruct.APB2CLKDivider = RCC_HCLK_DIV1;

  if (HAL_RCC_ClockConfig(&RCC_ClkInitStruct, FLASH_LATENCY_2) != HAL_OK)
  {
    Error_Handler();
  }
}

static void MX_I2C1_Init(void)
{

  hi2c1.Instance = I2C1;
  hi2c1.Init.ClockSpeed = 400000;
  hi2c1.Init.DutyCycle = I2C_DUTYCYCLE_2;
  hi2c1.Init.OwnAddress1 = 0;
  hi2c1.Init.AddressingMode = I2C_ADDRESSINGMODE_7BIT;
  hi2c1.Init.DualAddressMode = I2C_DUALADDRESS_DISABLE;
  hi2c1.Init.OwnAddress2 = 0;
  hi2c1.Init.GeneralCallMode = I2C_GENERALCALL_DISABLE;
  hi2c1.Init.NoStretchMode = I2C_NOSTRETCH_DISABLE;
  if (HAL_I2C_Init(&hi2c1) != HAL_OK)
  {
    Error_Handler();
  }

}

static void MX_I2C2_Init(void)
{

  hi2c2.Instance = I2C2;
  hi2c2.Init.ClockSpeed = 400000;
  hi2c2.Init.DutyCycle = I2C_DUTYCYCLE_2;
  hi2c2.Init.OwnAddress1 = 0;
  hi2c2.Init.AddressingMode = I2C_ADDRESSINGMODE_7BIT;
  hi2c2.Init.DualAddressMode = I2C_DUALADDRESS_DISABLE;
  hi2c2.Init.OwnAddress2 = 0;
  hi2c2.Init.GeneralCallMode = I2C_GENERALCALL_DISABLE;
  hi2c2.Init.NoStretchMode = I2C_NOSTRETCH_DISABLE;
  if (HAL_I2C_Init(&hi2c2) != HAL_OK)
  {
    Error_Handler();
  }

}

static void MX_TIM1_Init(void)
{

  TIM_ClockConfigTypeDef sClockSourceConfig = {0};
  TIM_MasterConfigTypeDef sMasterConfig = {0};
  TIM_IC_InitTypeDef sConfigIC = {0};

  htim1.Instance = TIM1;
  htim1.Init.Prescaler = 83;
  htim1.Init.CounterMode = TIM_COUNTERMODE_UP;
  htim1.Init.Period = 29999;
  htim1.Init.ClockDivision = TIM_CLOCKDIVISION_DIV1;
  htim1.Init.RepetitionCounter = 0;
  htim1.Init.AutoReloadPreload = TIM_AUTORELOAD_PRELOAD_DISABLE;
  if (HAL_TIM_Base_Init(&htim1) != HAL_OK)
  {
    Error_Handler();
  }
  sClockSourceConfig.ClockSource = TIM_CLOCKSOURCE_INTERNAL;
  if (HAL_TIM_ConfigClockSource(&htim1, &sClockSourceConfig) != HAL_OK)
  {
    Error_Handler();
  }
  if (HAL_TIM_IC_Init(&htim1) != HAL_OK)
  {
    Error_Handler();
  }
  sMasterConfig.MasterOutputTrigger = TIM_TRGO_RESET;
  sMasterConfig.MasterSlaveMode = TIM_MASTERSLAVEMODE_DISABLE;
  if (HAL_TIMEx_MasterConfigSynchronization(&htim1, &sMasterConfig) != HAL_OK)
  {
    Error_Handler();
  }
  sConfigIC.ICPolarity = TIM_INPUTCHANNELPOLARITY_BOTHEDGE;
  sConfigIC.ICSelection = TIM_ICSELECTION_DIRECTTI;
  sConfigIC.ICPrescaler = TIM_ICPSC_DIV1;
  sConfigIC.ICFilter = 15;
  if (HAL_TIM_IC_ConfigChannel(&htim1, &sConfigIC, TIM_CHANNEL_1) != HAL_OK)
  {
    Error_Handler();
  }
  if (HAL_TIM_IC_ConfigChannel(&htim1, &sConfigIC, TIM_CHANNEL_2) != HAL_OK)
  {
    Error_Handler();
  }
  if (HAL_TIM_IC_ConfigChannel(&htim1, &sConfigIC, TIM_CHANNEL_3) != HAL_OK)
  {
    Error_Handler();
  }
  if (HAL_TIM_IC_ConfigChannel(&htim1, &sConfigIC, TIM_CHANNEL_4) != HAL_OK)
  {
    Error_Handler();
  }

}

static void MX_TIM2_Init(void)
{

  TIM_ClockConfigTypeDef sClockSourceConfig = {0};
  TIM_MasterConfigTypeDef sMasterConfig = {0};
  TIM_OC_InitTypeDef sConfigOC = {0};

  htim2.Instance = TIM2;
  htim2.Init.Prescaler = 83;
  htim2.Init.CounterMode = TIM_COUNTERMODE_UP;
  htim2.Init.Period = 19999;
  htim2.Init.ClockDivision = TIM_CLOCKDIVISION_DIV1;
  htim2.Init.AutoReloadPreload = TIM_AUTORELOAD_PRELOAD_DISABLE;
  if (HAL_TIM_Base_Init(&htim2) != HAL_OK)
  {
    Error_Handler();
  }
  sClockSourceConfig.ClockSource = TIM_CLOCKSOURCE_INTERNAL;
  if (HAL_TIM_ConfigClockSource(&htim2, &sClockSourceConfig) != HAL_OK)
  {
    Error_Handler();
  }
  if (HAL_TIM_PWM_Init(&htim2) != HAL_OK)
  {
    Error_Handler();
  }
  sMasterConfig.MasterOutputTrigger = TIM_TRGO_RESET;
  sMasterConfig.MasterSlaveMode = TIM_MASTERSLAVEMODE_DISABLE;
  if (HAL_TIMEx_MasterConfigSynchronization(&htim2, &sMasterConfig) != HAL_OK)
  {
    Error_Handler();
  }
  sConfigOC.OCMode = TIM_OCMODE_PWM1;
  sConfigOC.Pulse = 0;
  sConfigOC.OCPolarity = TIM_OCPOLARITY_HIGH;
  sConfigOC.OCFastMode = TIM_OCFAST_DISABLE;
  if (HAL_TIM_PWM_ConfigChannel(&htim2, &sConfigOC, TIM_CHANNEL_1) != HAL_OK)
  {
    Error_Handler();
  }
  if (HAL_TIM_PWM_ConfigChannel(&htim2, &sConfigOC, TIM_CHANNEL_2) != HAL_OK)
  {
    Error_Handler();
  }
  if (HAL_TIM_PWM_ConfigChannel(&htim2, &sConfigOC, TIM_CHANNEL_3) != HAL_OK)
  {
    Error_Handler();
  }
  if (HAL_TIM_PWM_ConfigChannel(&htim2, &sConfigOC, TIM_CHANNEL_4) != HAL_OK)
  {
    Error_Handler();
  }
  HAL_TIM_MspPostInit(&htim2);

}

static void MX_TIM3_Init(void)
{

  TIM_ClockConfigTypeDef sClockSourceConfig = {0};
  TIM_MasterConfigTypeDef sMasterConfig = {0};

  htim3.Instance = TIM3;
  htim3.Init.Prescaler = 83;
  htim3.Init.CounterMode = TIM_COUNTERMODE_UP;
  htim3.Init.Period = 3999;
  htim3.Init.ClockDivision = TIM_CLOCKDIVISION_DIV1;
  htim3.Init.AutoReloadPreload = TIM_AUTORELOAD_PRELOAD_DISABLE;
  if (HAL_TIM_Base_Init(&htim3) != HAL_OK)
  {
    Error_Handler();
  }
  sClockSourceConfig.ClockSource = TIM_CLOCKSOURCE_INTERNAL;
  if (HAL_TIM_ConfigClockSource(&htim3, &sClockSourceConfig) != HAL_OK)
  {
    Error_Handler();
  }
  sMasterConfig.MasterOutputTrigger = TIM_TRGO_RESET;
  sMasterConfig.MasterSlaveMode = TIM_MASTERSLAVEMODE_DISABLE;
  if (HAL_TIMEx_MasterConfigSynchronization(&htim3, &sMasterConfig) != HAL_OK)
  {
    Error_Handler();
  }

}

static void MX_TIM9_Init(void)
{

  TIM_ClockConfigTypeDef sClockSourceConfig = {0};
  TIM_IC_InitTypeDef sConfigIC = {0};

  htim9.Instance = TIM9;
  htim9.Init.Prescaler = 83;
  htim9.Init.CounterMode = TIM_COUNTERMODE_UP;
  htim9.Init.Period = 9999;
  htim9.Init.ClockDivision = TIM_CLOCKDIVISION_DIV1;
  htim9.Init.AutoReloadPreload = TIM_AUTORELOAD_PRELOAD_DISABLE;
  if (HAL_TIM_Base_Init(&htim9) != HAL_OK)
  {
    Error_Handler();
  }
  sClockSourceConfig.ClockSource = TIM_CLOCKSOURCE_INTERNAL;
  if (HAL_TIM_ConfigClockSource(&htim9, &sClockSourceConfig) != HAL_OK)
  {
    Error_Handler();
  }
  if (HAL_TIM_IC_Init(&htim9) != HAL_OK)
  {
    Error_Handler();
  }
  sConfigIC.ICPolarity = TIM_INPUTCHANNELPOLARITY_BOTHEDGE;
  sConfigIC.ICSelection = TIM_ICSELECTION_DIRECTTI;
  sConfigIC.ICPrescaler = TIM_ICPSC_DIV1;
  sConfigIC.ICFilter = 15;
  if (HAL_TIM_IC_ConfigChannel(&htim9, &sConfigIC, TIM_CHANNEL_1) != HAL_OK)
  {
    Error_Handler();
  }

}

static void MX_GPIO_Init(void)
{
  GPIO_InitTypeDef GPIO_InitStruct = {0};

  /* GPIO Ports Clock Enable */
  __HAL_RCC_GPIOE_CLK_ENABLE();
  __HAL_RCC_GPIOH_CLK_ENABLE();
  __HAL_RCC_GPIOC_CLK_ENABLE();
  __HAL_RCC_GPIOA_CLK_ENABLE();
  __HAL_RCC_GPIOB_CLK_ENABLE();
  __HAL_RCC_GPIOD_CLK_ENABLE();

  /*Configure GPIO pin Output Level */
  HAL_GPIO_WritePin(GPIOC, GPIO_PIN_1, GPIO_PIN_RESET);

  /*Configure GPIO pin Output Level */
  HAL_GPIO_WritePin(GPIOD, GPIO_PIN_12|GPIO_PIN_13|GPIO_PIN_15, GPIO_PIN_RESET);

  /*Configure GPIO pin : PC1 */
  GPIO_InitStruct.Pin = GPIO_PIN_1;
  GPIO_InitStruct.Mode = GPIO_MODE_OUTPUT_PP;
  GPIO_InitStruct.Pull = GPIO_NOPULL;
  GPIO_InitStruct.Speed = GPIO_SPEED_FREQ_LOW;
  HAL_GPIO_Init(GPIOC, &GPIO_InitStruct);

  /*Configure GPIO pins : PD12 PD13 PD15 */
  GPIO_InitStruct.Pin = GPIO_PIN_12|GPIO_PIN_13|GPIO_PIN_15;
  GPIO_InitStruct.Mode = GPIO_MODE_OUTPUT_PP;
  GPIO_InitStruct.Pull = GPIO_NOPULL;
  GPIO_InitStruct.Speed = GPIO_SPEED_FREQ_LOW;
  HAL_GPIO_Init(GPIOD, &GPIO_InitStruct);

}

void Error_Handler(void)
{
}

/************************ (C) COPYRIGHT STMicroelectronics *****END OF FILE****/
